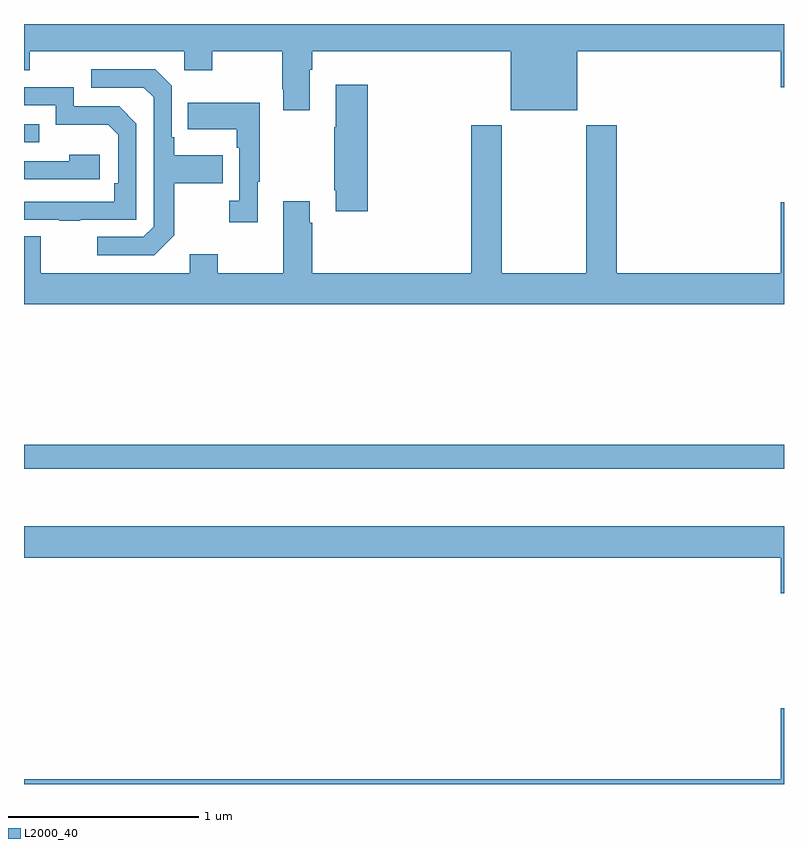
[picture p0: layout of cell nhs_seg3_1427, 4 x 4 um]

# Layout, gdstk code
import gdstk
lib = gdstk.Library(unit=1e-6, precision=1e-09)
def R(c, l, rs):  # rectangles x0, y0, x1, y1
    for r in rs: c.add(gdstk.rectangle(r[:2], r[2:], *l))
def P(c, l, *ps):  # polygons
    for p in ps: c.add(gdstk.Polygon(p, *l))
L2000_40 = (2000, 40)

nhs_seg3_1427 = lib.new_cell('nhs_seg3_1427')
R(nhs_seg3_1427, L2000_40, [(185,692.058,189,692.186), (185,693.777,185.081,693.873)])
P(nhs_seg3_1427, L2000_40, [(186.505,694.16),(186.518,694.16),(186.518,694.256),(187.562,694.256),(187.562,693.947),(187.912,693.947),(187.912,694.256),(188.984,694.256),(188.984,694.068),(189,694.068),(189,694.4),(185,694.4),(185,694.157),(185.031,694.157),(185.031,694.256),(185.844,694.256),(185.844,694.157),(185.991,694.157),(185.991,694.256),(186.358,694.256),(186.358,694.057),(186.365,694.057),(186.365,693.945),(186.505,693.945)],
  [(185.791,693.289),(185.791,693.562),(186.047,693.562),(186.047,693.709),(185.791,693.709),(185.791,693.805),(185.778,693.805),(185.778,694.074),(185.691,694.161),(185.355,694.161),(185.355,694.065),(185.631,694.065),(185.682,694.014),(185.682,693.333),(185.628,693.279),(185.385,693.279),(185.385,693.183),(185.685,693.183)],
  [(186.809,694.081),(186.641,694.081),(186.641,693.857),(186.634,693.857),(186.634,693.526),(186.641,693.526),(186.641,693.414),(186.809,693.414)],
  [(185.297,693.369),(185.592,693.369),(185.592,693.876),(185.502,693.966),(185.262,693.966),(185.262,694.068),(185,694.068),(185,693.972),(185.166,693.972),(185.166,693.869),(185.443,693.869),(185.496,693.816),(185.496,693.562),(185.476,693.562),(185.476,693.465),(185,693.465),(185,693.369),(185.185,693.369),(185.185,693.364),(185.297,693.364)],
  [(186.229,693.569),(186.241,693.569),(186.241,693.985),(185.863,693.985),(185.863,693.845),(186.12,693.845),(186.12,693.749),(186.132,693.749),(186.132,693.47),(186.081,693.47),(186.081,693.357),(186.229,693.357)],
  [(189,693.463),(188.984,693.463),(188.984,693.088),(188.12,693.088),(188.12,693.868),(187.96,693.868),(187.96,693.088),(187.515,693.088),(187.515,693.868),(187.355,693.868),(187.355,693.088),(186.518,693.088),(186.518,693.353),(186.505,693.353),(186.505,693.466),(186.365,693.466),(186.365,693.088),(186.021,693.088),(186.021,693.187),(185.873,693.187),(185.873,693.088),(185.089,693.088),(185.089,693.283),(185,693.283),(185,692.924),(189,692.924)],
  [(185.398,693.712),(185.237,693.712),(185.237,693.678),(185,693.678),(185,693.582),(185.398,693.582)],
  [(189,691.756),(185,691.756),(185,691.592),(188.984,691.592),(188.984,691.404),(189,691.404)],
  [(189,690.799),(188.984,690.799),(188.984,690.424),(185,690.424),(185,690.4),(189,690.4)])

lib.write_gds('nhs_seg3_1427.gds')
